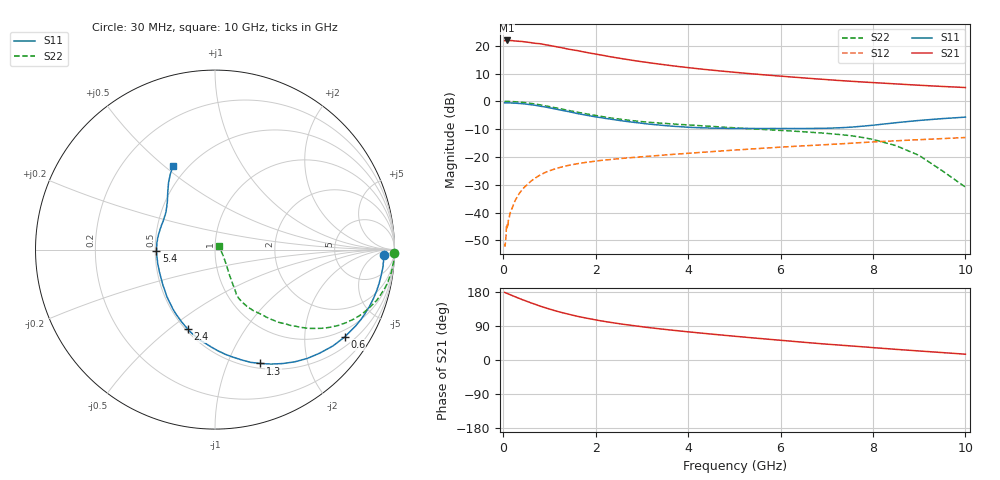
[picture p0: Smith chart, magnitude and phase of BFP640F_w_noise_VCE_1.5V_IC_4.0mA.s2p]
! Infineon Technologies  Discrete & RF Semiconductors
! BFP640F
! VCE =  1.5 V,  IC =  4.0 mA
! Common Emitter S-Parameters:  Apr 2013
# GHz  S  MA  R  50
!  f  S11  S21  S12  S22
! GHz  MAG  ANG  MAG  ANG  MAG  ANG  MAG  ANG
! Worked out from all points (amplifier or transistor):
!   99 points, 30 MHz to 10 GHz, reference 50 ohm
!   highest |S21| = 21.9 dB at 80 MHz (marker M1)
!   |S21| within 3 dB of that: start of sweep to 1.377 GHz
!   unconditionally stable (mu >= 1): 4.747 GHz to end of sweep
!   at 350 MHz: K = 0.06, MSG = 27.3 dB, |S12| = -33.0 dB
!   at 3.5 GHz: K = 0.87, MSG = 16.2 dB, |S12| = -19.3 dB
!   at 10 GHz: K = 1.12, MAG = 6.9 dB, |S12| = -13.0 dB
!   lowest NFmin = 0.49 dB at 450 MHz
!   S11 on the Smith chart (normalised r, x): 30 MHz: 27, -14; 600 MHz: 0.77, -3.11; 1.3 GHz: 0.56, -1.32; 2.4 GHz: 0.51, -0.58; 5.4 GHz: 0.51, -0.01; 10 GHz: 0.42, +0.54
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0.03  0.9435 -1.7  12.34 178.4  0.0027 79.2  0.9999 -1.0
0.04  0.9425 -2.3  12.24 177.9  0.0025 89.6  0.9988 -1.4
0.05  0.9426 -2.9  12.42 177.6  0.003 95.0  0.9985 -1.7
0.08  0.9401 -4.7  12.44 175.9  0.0052 84.6  0.9988 -2.8
0.2  0.9337 -11.6  12.32 169.8  0.0125 85.0  0.9909 -7.2
0.4  0.9091 -23.0  11.97 159.9  0.0251 79.0  0.9626 -14.1
0.6  0.8714 -33.9  11.36 150.8  0.0368 73.4  0.9189 -20.7
0.8  0.8199 -44.8  10.86 142.1  0.0476 67.7  0.866 -26.5
0.9  0.795 -49.7  10.47 138.3  0.0524 65.0  0.8353 -29.2
1.1  0.7383 -59.3  9.773 130.8  0.0605 60.5  0.7751 -33.9
1.3  0.6827 -68.3  9.086 124.2  0.0674 56.6  0.718 -37.7
1.7  0.5848 -84.6  7.865 112.9  0.078 50.9  0.617 -43.7
2.1  0.5124 -99.3  6.841 103.6  0.0866 46.9  0.5397 -48.7
2.4  0.4692 -108.7  6.175 97.8  0.0918 44.9  0.495 -51.4
2.9  0.4137 -122.9  5.305 89.4  0.0994 42.5  0.4413 -54.7
3.4  0.3742 -135.9  4.646 82.1  0.1072 40.9  0.406 -57.4
4  0.3428 -149.9  4.045 74.3  0.1167 39.5  0.3781 -59.5
5.1  0.3257 -173.0  3.281 61.7  0.1348 36.8  0.3318 -62.5
5.4  0.3263 -178.5  3.115 58.4  0.14 36.1  0.3201 -63.0
6.7  0.3264 157.4  2.566 44.8  0.1621 32.2  0.2768 -64.5
8.5  0.4138 129.5  2.06 28.1  0.1958 26.0  0.1599 -60.1
10  0.5212 116.5  1.773 15.3  0.2241 19.8  0.0288 39.3
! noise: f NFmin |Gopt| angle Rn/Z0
0.45  0.49  0.47  8  0.17
0.9  0.54  0.47  21  0.17
1.5  0.58  0.47  31  0.17
1.9  0.61  0.44  44  0.17
2.4  0.67  0.4  59  0.17
3.5  0.76  0.3  79  0.18
5.5  1.02  0.24  148  0.19
10  1.8  0.46  -106  0.37
